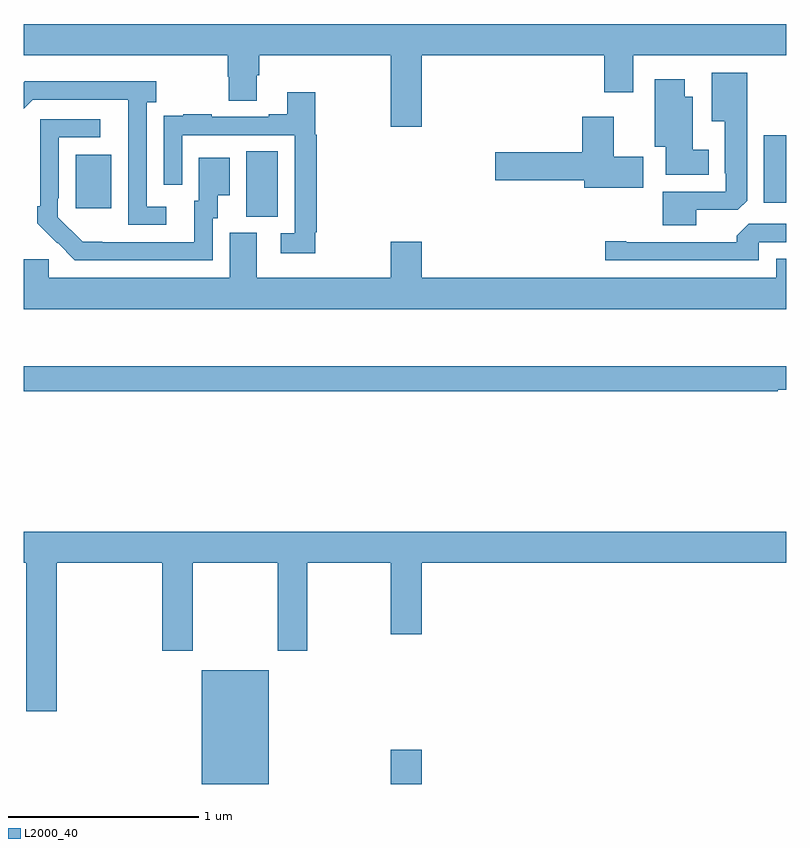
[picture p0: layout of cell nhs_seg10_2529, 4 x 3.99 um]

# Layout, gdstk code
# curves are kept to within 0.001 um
import gdstk
lib = gdstk.Library(unit=1e-6, precision=1e-09)
def R(c, l, rs):  # rectangles x0, y0, x1, y1
    for r in rs: c.add(gdstk.rectangle(r[:2], r[2:], *l))
def P(c, l, *ps):  # polygons
    for p in ps: c.add(gdstk.Polygon(p, *l))
L2000_40 = (2000, 40)

nhs_seg10_2529 = lib.new_cell('nhs_seg10_2529')
R(nhs_seg10_2529, L2000_40, [(247.934,1288.5,248.284,1289.098), (248.924,1288.5,249.088,1288.681), (248.168,1291.477,248.332,1291.82), (247.271,1291.521,247.459,1291.801), (250.883,1291.55,251,1291.903)])
P(nhs_seg10_2529, L2000_40, [(247,1292.324),(248.069,1292.324),(248.069,1292.211),(248.074,1292.211),(248.074,1292.086),(248.221,1292.086),(248.221,1292.218),(248.234,1292.218),(248.234,1292.324),(248.924,1292.324),(248.924,1291.95),(249.088,1291.95),(249.088,1292.324),(250.046,1292.324),(250.046,1292.13),(250.198,1292.13),(250.198,1292.324),(251,1292.324),(251,1292.488),(247,1292.488)],
  [(250.528,1291.512),(250.746,1291.512),(250.795,1291.561),(250.795,1292.233),(250.61,1292.233),(250.61,1291.979),(250.679,1291.979),(250.679,1291.705),(250.683,1291.705),(250.683,1291.608),(250.352,1291.608),(250.352,1291.433),(250.528,1291.433)],
  [(250.594,1291.828),(250.51,1291.828),(250.51,1292.107),(250.468,1292.107),(250.468,1292.197),(250.31,1292.197),(250.31,1291.844),(250.367,1291.844),(250.367,1291.697),(250.594,1291.697)],
  [(247.747,1291.53),(247.644,1291.53),(247.644,1292.078),(247.696,1292.078),(247.696,1292.188),(247.006,1292.188),(247,1292.182),(247,1292.044),(247.047,1292.091),(247.548,1292.091),(247.548,1291.434),(247.747,1291.434)],
  [(248.53,1291.396),(248.537,1291.396),(248.537,1291.908),(248.53,1291.908),(248.53,1292.131),(248.381,1292.131),(248.381,1292.014),(248.285,1292.014),(248.285,1292.001),(247.985,1292.001),(247.985,1292.014),(247.837,1292.014),(247.837,1292.007),(247.735,1292.007),(247.735,1291.898),(247.734,1291.898),(247.734,1291.644),(247.83,1291.644),(247.83,1291.905),(248.421,1291.905),(248.421,1291.389),(248.349,1291.389),(248.349,1291.284),(248.53,1291.284)],
  [(250.249,1291.791),(250.096,1291.791),(250.096,1292.002),(249.929,1292.002),(249.929,1291.814),(249.474,1291.814),(249.474,1291.667),(249.941,1291.667),(249.941,1291.628),(250.249,1291.628)],
  [(247.992,1291.47),(248.017,1291.47),(248.017,1291.589),(248.08,1291.589),(248.08,1291.786),(247.919,1291.786),(247.919,1291.56),(247.895,1291.56),(247.895,1291.344),(247.308,1291.345),(247.179,1291.473),(247.179,1291.573),(247.182,1291.573),(247.182,1291.893),(247.402,1291.893),(247.402,1291.989),(247.086,1291.989),(247.086,1291.531),(247.071,1291.531),(247.071,1291.443),(247.268,1291.248),(247.992,1291.248)],
  [(250.857,1291.344),(251,1291.344),(251,1291.44),(250.803,1291.44),(250.742,1291.378),(250.742,1291.344),(250.162,1291.344),(250.162,1291.349),(250.05,1291.349),(250.05,1291.248),(250.857,1291.248)],
  [(251,1291.255),(250.949,1291.255),(250.949,1291.156),(249.088,1291.156),(249.088,1291.345),(248.924,1291.345),(248.924,1291.156),(248.221,1291.156),(248.221,1291.392),(248.081,1291.392),(248.081,1291.156),(247.131,1291.156),(247.131,1291.254),(247,1291.254),(247,1290.992),(251,1290.992)],
  [(250.955,1290.57),(251,1290.57),(251,1290.691),(247,1290.691),(247,1290.562),(250.955,1290.562)],
  [(247.172,1289.66),(247.727,1289.66),(247.727,1289.199),(247.887,1289.199),(247.887,1289.66),(248.332,1289.66),(248.332,1289.199),(248.487,1289.199),(248.487,1289.66),(248.924,1289.66),(248.924,1289.286),(249.088,1289.286),(249.088,1289.66),(251,1289.66),(251,1289.824),(247,1289.824),(247,1289.66),(247.012,1289.66),(247.012,1288.881),(247.172,1288.881)])

lib.write_gds('nhs_seg10_2529.gds')
